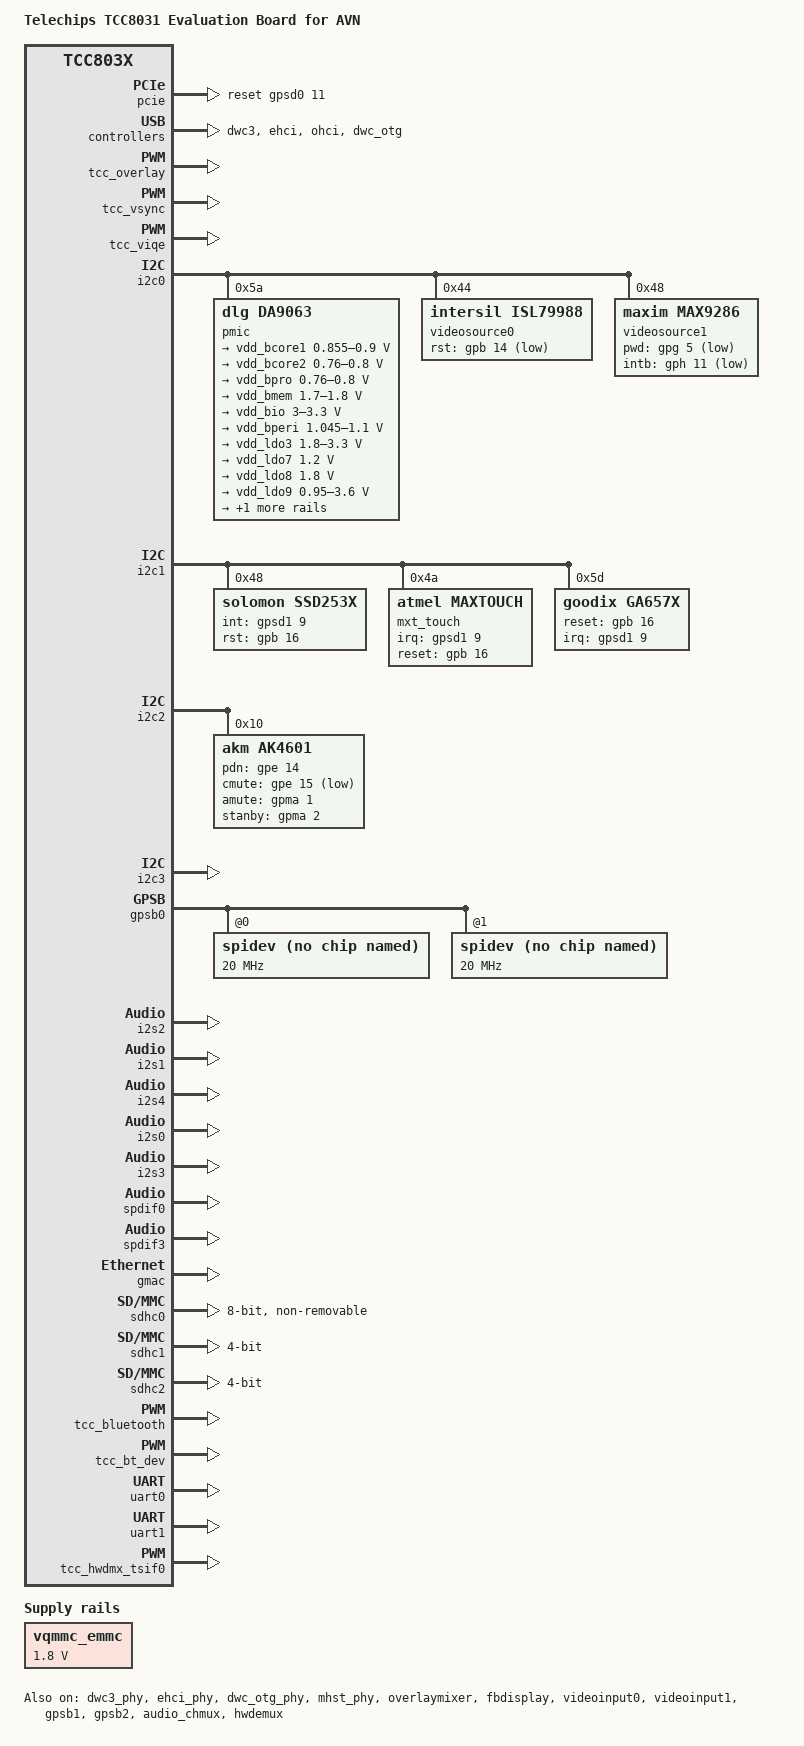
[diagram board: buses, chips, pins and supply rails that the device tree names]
// SPDX-License-Identifier: (GPL-2.0+ OR MIT)
/*
 * Device tree for Telechips TCC8031 board
 *
 * Copyright (C) 2018 Telechips Inc.

 */

#ifndef DT_OVERLAY
#include "tcc8031.dtsi"
#endif

#include "tcc803x-android.dtsi"

#include <dt-bindings/pmap/tcc803x/pmap-tcc803x-android-ivi.h>
#include "tcc-pmap-803x-android-customized.dtsi"
#include "tcc-pmap-common.dtsi"

/ {
	model = "Telechips TCC8031 Evaluation Board for AVN";
	compatible = "telechips,tcc8031", "telechips,tcc803x";
};

&aliases {
	videosource0 = &videosource0;
	videosource1 = &videosource1;
};

&pcie {
	reset-gpio = <&gpsd0 11 0>;
	//status = "okay";
};

&reserved_memory {
	/*-----------------------------------------------------------
	 * Secure Area 1 (CPU R/W, VPU X, GPU R/W, VIOC R)
	 *-----------------------------------------------------------
	 */
	pmap_fb_video: fb_video {
		compatible = "telechips,pmap";
		telechips,pmap-name = "fb_video";
		alloc-ranges = <SECURE_AREA_1_BASE SECURE_AREA_1_SIZE>;
		size = <PMAP_SIZE_FB_VIDEO>;
		telechips,pmap-secured = <1>;
		no-map;
	};

	pmap_fb1_video: fb1_video {
		compatible = "telechips,pmap";
		telechips,pmap-name = "fb1_video";
		alloc-ranges = <SECURE_AREA_1_BASE SECURE_AREA_1_SIZE>;
		size = <PMAP_SIZE_FB1_VIDEO>;
		telechips,pmap-secured = <1>;
		no-map;
	};

	pmap_fb2_video: fb2_video {
		compatible = "telechips,pmap";
		telechips,pmap-name = "fb2_video";
		alloc-ranges = <SECURE_AREA_1_BASE SECURE_AREA_1_SIZE>;
		size = <PMAP_SIZE_FB2_VIDEO>;
		telechips,pmap-secured = <1>;
		no-map;
	};

	pmap_fb3_video: fb3_video {
		compatible = "telechips,pmap";
		telechips,pmap-name = "fb3_video";
		alloc-ranges = <SECURE_AREA_1_BASE SECURE_AREA_1_SIZE>;
		size = <PMAP_SIZE_FB3_VIDEO>;
		telechips,pmap-secured = <1>;
		no-map;
	};

	/*-----------------------------------------------------------
	 * Secure Area 2 (CPU X, VPU X, GPU X, VIOC R/W)
	 *-----------------------------------------------------------
	 */
	pmap_overlay: overlay {
		compatible = "telechips,pmap";
		telechips,pmap-name = "overlay";
		alloc-ranges = <SECURE_AREA_2_BASE SECURE_AREA_2_SIZE>;
		/* Max-Displayed-Output(w*h*2) * 3 */
		size = <PMAP_SIZE_OVERLAY>;
		telechips,pmap-secured = <2>;
		no-map;
	};

	pmap_overlay1: overlay1 {
		compatible = "telechips,pmap";
		telechips,pmap-name = "overlay1";
		alloc-ranges = <SECURE_AREA_2_BASE SECURE_AREA_2_SIZE>;
		/* Max-Displayed-Output(w*h*2) * 3 */
		size = <PMAP_SIZE_OVERLAY1>;
		telechips,pmap-secured = <2>;
		no-map;
	};

	pmap_overlay_rot: overlay_rot {
		compatible = "telechips,pmap";
		telechips,pmap-name = "overlay_rot";
		alloc-ranges = <SECURE_AREA_2_BASE SECURE_AREA_2_SIZE>;
		/* Max-Displayed-Output(w*h*2) for device-rotation. */
		size = <PMAP_SIZE_OVERLAY_ROT>;
		telechips,pmap-secured = <2>;
		no-map;
	};

	pmap_viqe0: viqe0 {
		compatible = "telechips,pmap";
		telechips,pmap-name = "viqe";
		alloc-ranges = <SECURE_AREA_2_BASE SECURE_AREA_2_SIZE>;
		size = <PMAP_SIZE_VIQE0>;
		telechips,pmap-secured = <2>;
		no-map;
	};

	pmap_viqe1: viqe1 {
		compatible = "telechips,pmap";
		telechips,pmap-name = "viqe1";
		alloc-ranges = <SECURE_AREA_2_BASE SECURE_AREA_2_SIZE>;
		size = <PMAP_SIZE_VIQE1>;
		telechips,pmap-secured = <2>;
		no-map;
	};

	pmap_output_attach: output_attach {
		compatible = "telechips,pmap";
		telechips,pmap-name = "output_attach";
		alloc-ranges = <SECURE_AREA_2_BASE SECURE_AREA_2_SIZE>;
		size = <PMAP_SIZE_OUTPUT_ATTACH>;
		telechips,pmap-secured = <2>;
		no-map;
	};

	pmap_v4l2_vout0: v4l2_vout0 {
		compatible = "telechips,pmap";
		telechips,pmap-name = "v4l2_vout0";
		alloc-ranges = <SECURE_AREA_2_BASE SECURE_AREA_2_SIZE>;
		size = <PMAP_SIZE_V4L2_VOUT0>;
		telechips,pmap-secured = <2>;
		no-map;
	};

	pmap_v4l2_vout1: v4l2_vout1 {
		compatible = "telechips,pmap";
		telechips,pmap-name = "v4l2_vout1";
		alloc-ranges = <SECURE_AREA_2_BASE SECURE_AREA_2_SIZE>;
		size = <PMAP_SIZE_V4L2_VOUT1>;
		telechips,pmap-secured = <2>;
		no-map;
	};

	pmap_video_dual: video_dual {
		compatible = "telechips,pmap";
		telechips,pmap-name = "video_dual";
		alloc-ranges = <SECURE_AREA_2_BASE SECURE_AREA_2_SIZE>;
		size = <PMAP_SIZE_VIDEO_DUAL>;
		telechips,pmap-secured = <2>;
		no-map;
	};

	pmap_dual_display: dual_display {
		compatible = "telechips,pmap";
		telechips,pmap-name = "dual_display";
		alloc-ranges = <SECURE_AREA_2_BASE SECURE_AREA_2_SIZE>;
		size = <PMAP_SIZE_DUAL_DISPLAY>;
		telechips,pmap-secured = <2>;
		no-map;
	};

	pmap_fb_wmixer: fb_wmixer {
		compatible = "telechips,pmap";
		telechips,pmap-name = "fb_wmixer";
		alloc-ranges = <SECURE_AREA_2_BASE SECURE_AREA_2_SIZE>;
		/* Max-Video-Resolution(w*h*2) */
		size = <PMAP_SIZE_FB_WMIXER>;
		telechips,pmap-secured = <2>;
		no-map;
	};

	/*-----------------------------------------------------------
	 * Secure Area 3 (CPU X, VPU R/W, GPU X, VIOC R)
	 *-----------------------------------------------------------
	 */

	pmap_video_ext: video_ext {
		compatible = "telechips,pmap";
		telechips,pmap-name = "video_ext";
		alloc-ranges = <SECURE_AREA_3_BASE SECURE_AREA_3_SIZE>;
		size = <PMAP_SIZE_VIDEO_EXT>;
		telechips,pmap-secured = <3>;
		no-map;
	};

	pmap_video_ext2: video_ext2 {
		compatible = "telechips,pmap";
		telechips,pmap-name = "video_ext2";
		alloc-ranges = <SECURE_AREA_3_BASE SECURE_AREA_3_SIZE>;
		size = <PMAP_SIZE_VIDEO_EXT2>;
		telechips,pmap-secured = <3>;
		no-map;
	};

	pmap_video: video {
		compatible = "telechips,pmap";
		telechips,pmap-name = "video";
		alloc-ranges = <SECURE_AREA_3_BASE SECURE_AREA_3_SIZE>;
		size = <PMAP_SIZE_VIDEO>;
		telechips,pmap-secured = <3>;
		no-map;
	};

	pmap_video_sw: video_sw {
		compatible = "telechips,pmap";
		telechips,pmap-name = "video_sw";
		alloc-ranges = <RESERVED_MEM_BASE RESERVED_MEM_SIZE>;
		size = <PMAP_SIZE_VIDEO_SW_EXTRA>;
		no-map;
	};

	/*-----------------------------------------------------------
	 * Secure Area 4 (CPU X, VPU X, GPU R/W, VIOC R/W)
	 *-----------------------------------------------------------
	 */
	pmap_ump_reserved: ump_reserved {
		compatible = "telechips,pmap";
		telechips,pmap-name = "ump_reserved";
		alloc-ranges = <SECURE_AREA_4_BASE SECURE_AREA_4_SIZE>;
		size = <PMAP_SIZE_UMP_RESERVED>;
		telechips,pmap-secured = <4>;
	};

	pmap_ion_carveout_cam: ion_carveout_cam {
		compatible = "telechips,pmap";
		telechips,pmap-name = "ion_carveout_cam";
		alloc-ranges = <SECURE_AREA_4_BASE SECURE_AREA_4_SIZE>;
		size = <PMAP_SIZE_ION_CARVEOUT_CAM>; // 12MB
		telechips,pmap-secured = <4>;
	};

	/*-----------------------------------------------------------
	 * Shared Memory with pmap_viqe
	 *-----------------------------------------------------------
	 */
	pmap_jpeg_header: jpeg_header {
		compatible = "telechips,pmap";
		telechips,pmap-name = "jpeg_header";
		alloc-ranges = <RESERVED_MEM_BASE RESERVED_MEM_SIZE>;
		telechips,pmap-shared = <&pmap_viqe0>;
		telechips,pmap-shared-size = <PMAP_SIZE_JPEG_HEADER>;
		telechips,pmap-offset = <0x0>;
		size = <0x0>;
		no-map;
	};

	pmap_jpeg_stream: jpeg_stream {
		compatible = "telechips,pmap";
		telechips,pmap-name = "jpeg_stream";
		alloc-ranges = <RESERVED_MEM_BASE RESERVED_MEM_SIZE>;
		telechips,pmap-shared = <&pmap_jpeg_header>;
		telechips,pmap-shared-size = <PMAP_SIZE_JPEG_STREAM>;
		telechips,pmap-offset = <PMAP_SIZE_JPEG_HEADER>;
		size = <0x0>;
		no-map;
	};

	pmap_jpeg_raw: jpeg_raw {
		compatible = "telechips,pmap";
		telechips,pmap-name = "jpeg_raw";
		alloc-ranges = <RESERVED_MEM_BASE RESERVED_MEM_SIZE>;
		telechips,pmap-shared = <&pmap_jpeg_stream>;
		telechips,pmap-shared-size = <PMAP_SIZE_JPEG_RAW>;
		telechips,pmap-offset = <PMAP_SIZE_JPEG_STREAM>;
		size = <0x0>;
		no-map;
	};

	/*-----------------------------------------------------------
	 * Camera Memory
	 *-----------------------------------------------------------
	 */
	pmap_rearcamera_viqe: rearcamera_viqe {
		compatible = "telechips,pmap";
		telechips,pmap-name = "rearcamera_viqe";
		alloc-ranges = <EARLY_REARCAM_BASE EARLY_REARCAM_SIZE>;
		size = <PMAP_SIZE_CAMERA_VIQE>;
		no-map;
	};

	pmap_rearcamera: rearcamera {
		compatible = "telechips,pmap";
		telechips,pmap-name = "rearcamera";
		alloc-ranges = <EARLY_REARCAM_BASE EARLY_REARCAM_SIZE>;
		size = <PMAP_SIZE_CAMERA_PREVIEW0>;
		no-map;
	};

	pmap_rearcamera1: rearcamera1 {
		compatible = "telechips,pmap";
		telechips,pmap-name = "rearcamera1";
		alloc-ranges = <EARLY_REARCAM_BASE EARLY_REARCAM_SIZE>;
		size = <PMAP_SIZE_CAMERA_PREVIEW1>;
		no-map;
	};

	pmap_rearcamera2: rearcamera2 {
		compatible = "telechips,pmap";
		telechips,pmap-name = "rearcamera2";
		alloc-ranges = <EARLY_REARCAM_BASE EARLY_REARCAM_SIZE>;
		size = <PMAP_SIZE_CAMERA_PREVIEW2>;
		no-map;
	};

	pmap_rearcamera3: rearcamera3 {
		compatible = "telechips,pmap";
		telechips,pmap-name = "rearcamera3";
		alloc-ranges = <EARLY_REARCAM_BASE EARLY_REARCAM_SIZE>;
		size = <PMAP_SIZE_CAMERA_PREVIEW3>;
		no-map;
	};

	pmap_rearcamera4: rearcamera4 {
		compatible = "telechips,pmap";
		telechips,pmap-name = "rearcamera4";
		alloc-ranges = <EARLY_REARCAM_BASE EARLY_REARCAM_SIZE>;
		size = <PMAP_SIZE_CAMERA_PREVIEW4>;
		no-map;
	};

	pmap_rearcamera5: rearcamera5 {
		compatible = "telechips,pmap";
		telechips,pmap-name = "rearcamera5";
		alloc-ranges = <EARLY_REARCAM_BASE EARLY_REARCAM_SIZE>;
		size = <PMAP_SIZE_CAMERA_PREVIEW5>;
		no-map;
	};

	pmap_rearcamera6: rearcamera6 {
		compatible = "telechips,pmap";
		telechips,pmap-name = "rearcamera6";
		alloc-ranges = <EARLY_REARCAM_BASE EARLY_REARCAM_SIZE>;
		size = <PMAP_SIZE_CAMERA_PREVIEW6>;
		no-map;
	};

	pmap_parking_gui: parking_gui {
		compatible = "telechips,pmap";
		telechips,pmap-name = "parking_gui";
		alloc-ranges = <EARLY_REARCAM_BASE EARLY_REARCAM_SIZE>;
		size = <PMAP_SIZE_CAMERA_PGL>;
		no-map;
	};

	/*-----------------------------------------------------------
	 * Default Reserved Memory
	 *-----------------------------------------------------------
	 */
	pmap_ump_reserved_sw: ump_reserved_sw {
		compatible = "telechips,pmap";
		telechips,pmap-name = "ump_reserved_sw";
		alloc-ranges = <RESERVED_MEM_BASE RESERVED_MEM_SIZE>;
		size = <PMAP_SIZE_UMP_RESERVED_SW>; // 4KB * 12
		no-map;
	};

	pmap_video_sbackup: video_sbackup {
		compatible = "telechips,pmap";
		telechips,pmap-name = "video_sbackup";
		alloc-ranges = <RESERVED_MEM_BASE RESERVED_MEM_SIZE>;
		/* 0x200000 for 1080p, 0x600000 for 2160p */
		size = <PMAP_SIZE_VIDEO_SBACKUP>;
		telechips,pmap-secured;
		no-map;
	};

	pmap_pmem: pmem {
		compatible = "telechips,pmap";
		telechips,pmap-name = "pmem";
		alloc-ranges = <RESERVED_MEM_BASE RESERVED_MEM_SIZE>;
		size = <PMAP_SIZE_PMEM>;
		no-map;
	};

	pmap_video_thumb: video_thumb {
		compatible = "telechips,pmap";
		telechips,pmap-name = "video_thumb";
		alloc-ranges = <RESERVED_MEM_BASE RESERVED_MEM_SIZE>;
		/* 0x600000 for 1080p video, 0x1A00000 for 2160p */
		size = <PMAP_SIZE_VIDEO_THUMB>;
		no-map;
	};

	pmap_ext_camera: ext_camera {
		compatible = "telechips,pmap";
		telechips,pmap-name = "ext_camera";
		alloc-ranges = <RESERVED_MEM_BASE RESERVED_MEM_SIZE>;
		size = <PMAP_SIZE_EXT_CAMERA>;
		no-map;
	};

	pmap_nand_mem: nand_mem {
		compatible = "telechips,pmap";
		telechips,pmap-name = "nand_mem";
		alloc-ranges = <RESERVED_MEM_BASE RESERVED_MEM_SIZE>;
		size = <PMAP_SIZE_NAND_MEM>;
		no-map;
	};

	pmap_tsif: tsif {
		compatible = "telechips,pmap";
		telechips,pmap-name = "tsif";
		alloc-ranges = <RESERVED_MEM_BASE RESERVED_MEM_SIZE>;
		size = <PMAP_SIZE_TSIF>;
		no-map;
	};

	/*
	 * pmap_jpg_enc_dxb: jpg_enc_dxb {
	 *	telechips,pmap-name = "jpg_enc_dxb";
	 *	alloc-ranges = <RESERVED_MEM_BASE RESERVED_MEM_SIZE>;
	 *	size = <PMAP_SIZE_JPG_ENC_DXB>;
	 *	no-map;
	 * };
	 *
	 * pmap_jpg_raw_dxb: jpg_raw_dxb {
	 *	telechips,pmap-name = "jpg_raw_dxb";
	 *	alloc-ranges = <RESERVED_MEM_BASE RESERVED_MEM_SIZE>;
	 *	size = <PMAP_SIZE_JPG_RAW_DXB>;
	 *	no-map;
	 * };
	 */

	pmap_v4l2_subtitle: v4l2_subtitle {
		compatible = "telechips,pmap";
		telechips,pmap-name = "v4l2_subtitle";
		alloc-ranges = <RESERVED_MEM_BASE RESERVED_MEM_SIZE>;
		size = <PMAP_SIZE_V4L2_SUBTITLE>;
		no-map;
	};

	pmap_prot_tztee: prot_tztee {
		compatible = "telechips,pmap";
		telechips,pmap-name = "prot_tztee";
		alloc-ranges = <RESERVED_MEM_BASE RESERVED_MEM_SIZE>;
		/* Calculate start address based on 0x30000000.
		 * Base address will be (0x30000000 - prot_tztee_size).
		 */
		size = <0x0>;
		no-map;
	};

	reserved_ramoops: ramoops {
		compatible = "telechips,pmap";
		telechips,pmap-name = "ramoops";
		alloc-ranges = <RESERVED_MEM_BASE RESERVED_MEM_SIZE>;
		size = <PMAP_SIZE_RAMOOPS>;
		no-map;
	};

	/*
	 * reserved_cma: linux,cma {
	 *	compatible = "shared-dma-pool";
	 *	alloc-ranges = <RESERVED_MEM_BASE RESERVED_MEM_SIZE>;
	 *	size = <PMAP_SIZE_CMA>;
	 *	//alignment = <0x04000000>;
	 *	alignment = <0x0>;
	 *	linux,cma-default;
	 *	reusable;
	 * };
	 */

	/*-----------------------------------------------------------
	 * Shared Memory with pmap_video :: only for enc_main pmap.
	 *-----------------------------------------------------------
	 */
	pmap_enc_main: enc_main {
		compatible = "telechips,pmap";
		telechips,pmap-name = "enc_main";
		alloc-ranges = <RESERVED_MEM_BASE RESERVED_MEM_SIZE>;
		telechips,pmap-shared = <&pmap_video>;
		telechips,pmap-shared-size = <PMAP_SIZE_ENC>;
		telechips,pmap-offset = <VIDEO_MAIN_SIZE>;
		size = <0x0>;
		no-map;
	};

	pmap_enc_ext: enc_ext {
		compatible = "telechips,pmap";
		telechips,pmap-name = "enc_ext";
		alloc-ranges = <RESERVED_MEM_BASE RESERVED_MEM_SIZE>;
		size = <PMAP_SIZE_ENC_EXT>;
		no-map;
	};

	pmap_enc_ext2: enc_ext2 {
		compatible = "telechips,pmap";
		telechips,pmap-name = "enc_ext2";
		alloc-ranges = <RESERVED_MEM_BASE RESERVED_MEM_SIZE>;
		size = <PMAP_SIZE_ENC_EXT2>;
		no-map;
	};

	pmap_enc_ext3: enc_ext3 {
		compatible = "telechips,pmap";
		telechips,pmap-name = "enc_ext3";
		alloc-ranges = <RESERVED_MEM_BASE RESERVED_MEM_SIZE>;
		size = <PMAP_SIZE_ENC_EXT3>;
		no-map;
	};

	pmap_enc_ext4: enc_ext4 {
		compatible = "telechips,pmap";
		telechips,pmap-name = "enc_ext4";
		alloc-ranges = <RESERVED_MEM_BASE RESERVED_MEM_SIZE>;
		size = <PMAP_SIZE_ENC_EXT4>;
		no-map;
	};

	pmap_enc_ext5: enc_ext5 {
		compatible = "telechips,pmap";
		telechips,pmap-name = "enc_ext5";
		alloc-ranges = <0x0 RESERVED_MEM_BASE 0x0 RESERVED_MEM_SIZE>;
		size = <0x0 PMAP_SIZE_ENC_EXT5>;
		no-map;
	};

	pmap_enc_ext6: enc_ext6 {
		compatible = "telechips,pmap";
		telechips,pmap-name = "enc_ext6";
		alloc-ranges = <0x0 RESERVED_MEM_BASE 0x0 RESERVED_MEM_SIZE>;
		size = <0x0 PMAP_SIZE_ENC_EXT6>;
		no-map;
	};

	pmap_enc_ext7: enc_ext7 {
		compatible = "telechips,pmap";
		telechips,pmap-name = "enc_ext7";
		alloc-ranges = <0x0 RESERVED_MEM_BASE 0x0 RESERVED_MEM_SIZE>;
		size = <0x0 PMAP_SIZE_ENC_EXT7>;
		no-map;
	};

	/*
	 * pmap_svm: pmap_svm {
	 *	compatible = "telechips,pmap";
	 *	telechips,pmap-name = "pmap_svm";
	 *	alloc-ranges = <RESERVED_MEM_BASE RESERVED_MEM_SIZE>;
	 *	size = <PMAP_SVM_SIZE>;
	 *	no-map;
	 * };
	 */

	reserved_optee: optee_os {
		compatible = "optee.os";
		reg = <PMAP_BASE_OPTEE_OS PMAP_SIZE_OPTEE_OS>;
		no-map;
		status = "disabled";
	};

	reserved_dw_esm: dw_esm {
		compatible = "dw.esm";
		reg = <PMAP_BASE_PROT_ESM_FW PMAP_SIZE_PROT_ESM_FW>;
		no-map;
		status = "disabled";
	};
};

/*
 * &nand {
 *	compatible = "telechips,nand-v8";
 *	status = "okay";
 *	pinctrl-names = "default";
 *	pinctrl-0 = <&nand_rdy &nand_cs0
 *		     &nand_we &nand_oe &nand_cle &nand_ale
 *		     &nand_wp &nand_databus8>;
 * };
 */

/* USB 3.0 DRD */
&dwc3_phy {
	status = "okay";
	vbus-ctrl-able;
	vbus-gpio = <&gpa 29 0>;
};
&dwc3 {
	status = "okay";
	//usb3en-ctrl-able;
	//usb3en-gpio = <&gpc 20 0>;
	//vbus-source-ctrl;
	vbus-ctrl-able;
	vbus-gpio = <&gpa 29 0>;
	//pinctrl-names = "default";
	//vdd_dwc-supply = <&vdd_v5p0_reg>;
};

/* USB 2.0 OTG */
&ehci_phy {
	status = "okay";
	vbus-ctrl-able;
	vbus-gpio = <&gpa 28 0>;
};

&ehci {
	status = "okay";
	hcd_id = <0>;
	phy-type = <1>; //pico phy = 1, nano phy = 0
	vbus-ctrl-able;
	vbus-gpio = <&gpa 28 0>;

	//sq_level_ctl;
	TXVRT = <0xB>;
	TXRISET = <0x3>;
	TXAT = <0x1>;
};

&ohci {
	status = "okay";
	vbus-ctrl-able;
	vbus-gpio = <&gpa 28 0>;
};

&dwc_otg_phy {
	status = "okay";

	vbus-ctrl-able;
	vbus-gpio = <&gpa 27 0>;
};

&mhst_phy {
	status = "okay";

	vbus-ctrl-able;
	vbus-gpio = <&gpa 27 0>;
};

&dwc_otg {
	status = "okay";
	phy-type = <1>; //pico phy = 1, nano phy = 0

	vbus-ctrl-able;
	vbus-gpio = <&gpa 27 0>;
};

/*
 * &hsic {
 *	status = "okay";
 *	hcd_id = <2>; //2 == HSIC
 *	phy-type = <1>; //pico phy = 1, nano phy = 0
 *	vbus-ctrl-able;
 *	vbus-gpio = <&gpk 25 0>;
 * };
 */

&switch_reverse {
	compatible = "telechips,switch";
	status = "disabled";

	pinctrl-names = "default";
	pinctrl-0 = <&switch_ma15>;

	switch-gpios = <&gpma 15 1>;
	switch-active = <0>;
};

&thermal {
	compatible = "telechips,tcc-thermal";
	reg = <0x14700000 0x4 0x14700030 0x4 0x14200290 0x4 0x1420029C 0x4
	       0x14200298 0x4 0x1470000C 0x4 0x14700010 0x4>;

	status = "okay";

	throttle_count = <5>;
	throttle_active_count = <0>;
	throttle_passive_count = <5>;
	interrupts = <GIC_SPI 40 0>;
	cal_type = "TYPE_ONE_POINT_TRIMMING";
	polling-delay-idle = <0>;
	polling-delay-passive = <0>;

	threshold_temp = <85>;

	throttle_table {
		throttle_tab_0 {
			temp = <75>;
			freq_max_cluster0 = <1000000>;
			freq_max_cluster1 = <900000>;
		};
		throttle_tab_1 {
			temp = <80>;
			freq_max_cluster0 = <900000>;
			freq_max_cluster1 = <810000>;
		};
		throttle_tab_2 {
			temp = <85>;
			freq_max_cluster0 = <800000>;
			freq_max_cluster1 = <720000>;
		};
		throttle_tab_3 {
			temp = <90>;
			freq_max_cluster0 = <700000>;
			freq_max_cluster1 = <630000>;
		};
		throttle_tab_4 {
			temp = <95>;
			freq_max_cluster0 = <600000>;
			freq_max_cluster1 = <540000>;
		};
	};
};

&cpu_id {
	compatible = "telechips,tcc-cpu-id";
	reg = <0x14200290 0x4 0x14200298 0x4 0x1420029C 0x4 0x14400014 0x4>;
	status = "okay";
};

&overlaymixer {
	status ="okay";
	/* 16MB (if > 512MB RAM) refer to Guide 27 Page */
	contiguousSize = <0x1000000>;
	baseAddress = <0x20000000>;
	/* DRAM size (0x40000000 = 1GB, 0x80000000 = 2GB) */
	physSize = <0x80000000>;
};

&fbdisplay {
	telechips,fbdisplay_num = <0>;
	status ="okay";
};

&tcc_overlay {
	compatible = "telechips,tcc_overlay";
	status = "okay";
	fbdisplay-overlay = <&fbdisplay>;
};

&tcc_vsync {
	compatible = "telechips,tcc_vsync";
	display-vioc0 = <&vioc_disp VIOC_DISP0>;
	display-vioc1 = <&vioc_disp VIOC_DISP1>;
	status = "okay";
};

&tcc_viqe {
	compatible = "telechips,tcc_viqe";
	status ="okay";
	tcc_viqe_viqe_common {
		board_num=<1>;
	};
};

&hdmi_tx_20 {
	hdmi_ref_src_clock = <0>; // 0 XIN, 1 X-TAL, 2 PERI, 3, PMU XIN
	hdmi_phy_type = <0>; // 0 8031

	/* Source Product Description */
	product_description = "TCC8031_avn";
};

&videoinput0 {
	status = "okay";
};

&videoinput1 {
	status = "okay";
};

&i2c0 {
	status = "okay";
	port-mux = <12>;
	pinctrl-names = "default";
	pinctrl-0 = <&i2c12_bus>;

	pmic@5A {
		compatible = "dlg,da9063";
		reg = <0x5A>;

		da9063_gpio: gpio {
			compatible = "dlg,da9063-gpio";
			gpio-controller;
			#gpio-cells = <2>;
		};

		regulators {
			vdd_bcore1: bcore1 {
				regulator-name = "cpu_0p9v";
				regulator-min-microvolt = <855000>;
				regulator-max-microvolt = <900000>;
				regulator-always-on;
				regulator-boot-on;
			};

			vdd_bcore2: bcore2 {
				regulator-name = "core_0p8v";
				regulator-min-microvolt = <760000>;
				regulator-max-microvolt = <800000>;
				regulator-always-on;
				regulator-boot-on;
			};

			vdd_bpro: bpro {
				regulator-name = "vdd_mali";
				regulator-min-microvolt = <760000>;
				regulator-max-microvolt = <800000>;
				regulator-always-on;
				regulator-boot-on;
			};

			vdd_bmem: bmem {
				regulator-name = "io_1p8v";
				regulator-min-microvolt = <1700000>;
				regulator-max-microvolt = <1800000>;
				regulator-always-on;
				regulator-boot-on;
			};

			vdd_bio: bio {
				regulator-name = "io_3p3v";
				regulator-min-microvolt = <3000000>;
				regulator-max-microvolt = <3300000>;
				regulator-always-on;
				regulator-boot-on;
			};

			vdd_bperi: bperi {
				regulator-name = "mem_1p1v";
				regulator-min-microvolt = <1045000>;
				regulator-max-microvolt = <1100000>;
				regulator-always-on;
				regulator-boot-on;
			};

			vdd_ldo3: ldo3 {
				/* peri_1p8v */
				regulator-name = "sdio_pwr";
				regulator-min-microvolt = <1800000>;
				regulator-max-microvolt = <3300000>;
				regulator-always-on;
				regulator-boot-on;
			};

			vdd_ldo7: ldo7 {
				regulator-name = "cpu_1p2v";
				regulator-min-microvolt = <1200000>;
				regulator-max-microvolt = <1200000>;
				regulator-always-on;
				regulator-boot-on;
			};

			vdd_ldo8: ldo8 {
				regulator-name = "mem_1p8v";
				regulator-min-microvolt = <1800000>;
				regulator-max-microvolt = <1800000>;
				regulator-always-on;
				regulator-boot-on;
			};

			vdd_ldo9: ldo9 {
				regulator-name = "pmic_io_pwr";
				regulator-min-microvolt = <950000>;
				regulator-max-microvolt = <3600000>;
				regulator-always-on;
				regulator-boot-on;
			};

			vdd_ldo11: ldo11 {
				/* peri_3p3v */
				regulator-name = "emmc_pwr";
				regulator-min-microvolt = <3300000>;
				regulator-max-microvolt = <3300000>;
				regulator-always-on;
				regulator-boot-on;
			};
		};
	}; /* pmic da9063 */

	videosource0: videodecoder_isl79988 {
		compatible	= "intersil,isl79988";
		pinctrl-names	= "idle", "active";
		cifport		= <0>;
		pinctrl-0	= <&cam0_8bit_idle>;
		pinctrl-1	= <&cam0_clk &cam0_data_8bit>;
		rst-gpios	= <&gpb 14 1>;
		reg		= <0x44>;	// 0x88 >> 1
	};

	videosource1: deserializer_max9286 {
		compatible	= "maxim,max9286";
		cifport		= <5>;
		pwd-gpios	= <&gpg 5 1>;
		intb-gpios	= <&gph 11 1>;
		reg		= <0x48>;	// 0x90 >> 1
		mipi-csi2-idx   = <0>;
	};
};

&i2c1 {
	status = "okay";
	port-mux = <13>; /* [0]SCL [1]SDA */
	pinctrl-names = "default";
	pinctrl-0 = <&i2c13_bus>;

	ssd253x@48 {
		compatible = "solomon,ssd253x";
		reg = <0x48>;
		pinctrl-names = "default";
		pinctrl-0 = <&tsc_default>;
		int-gpios = <&gpsd1 9 0x0>;
		rst-gpios = <&gpb 16 0x0>;
	};
	mxt_touch@4a {
		compatible = "atmel,maxtouch";
		reg = <0x4a>;
		pinctrl-names = "default";
		pinctrl-0 = <&tsc_default>;

		irq-gpios = <&gpsd1 9 0x0>;
		reset-gpios = <&gpb 16 0x0>;
	};
	ga657x@5d {
		compatible = "goodix,ga657x";
		reg = <0x5d>;
		status = "okay";
		pinctrl-names = "default";
		pinctrl-0 = <&tsc_default>;

		reset-gpios = <&gpb 16 0x0>;
		irq-gpios = <&gpsd1 9 0x0>;
		irq-flags = <2>;

		touchscreen-max-id = <11>;
		touchscreen-size-x = <1920>;
		touchscreen-size-y = <720>;
		touchscreen-max-w = <512>;
		touchscreen-max-p = <512>;
		/*KEY_HOMEPAGE=172, KEY_BACK=158, KEY_MENU=139*/
		touchscreen-key-map = <172>, <158>;
		goodix,slide-wakeup = <0>;
		goodix,type-a-report = <0>;
		goodix,driver-send-cfg = <0>;
		goodix,resume-in-workqueue = <0>;
		goodix,swap-x2y = <0>;
		goodix,esd-protect = <1>;
		goodix,auto-update = <0>;
		goodix,auto-update-cfg = <0>;
		goodix,power-off-sleep = <0>;
		goodix,pen-suppress-finger = <0>;
		goodix,cfg-group0 = [
			53 D0 02 00 05 05 F5 D5 21 48 2D 0F 5A 41 0E
			05 00 00 32 32 20 00 05 14 14 1A 14 8B 2B 00
		];
	};
};

&i2c2 {
	status = "okay";
	port-mux = <20>; /* [0]SCL [1]SDA */
	pinctrl-names = "default";
	pinctrl-0 = <&i2c20_bus>;
	ak4601: ak4601@10 {
		compatible = "akm,ak4601";
		ak4601,pdn-gpio = <&gpe 14 0>;
		/* 0: active high, 1: active low */
		cmute-gpios = <&gpe 15 1>;	// CODEC_MUTE
		amute-gpios = <&gpma 1 0>;	// AMP_MUTE
		stanby-gpios = <&gpma 2 0>;	// AMP_STBY
		reg = <0x10>;
	};
};

&i2c3 {
	status = "okay";
	port-mux = <11>; /* [0]SCL [1]SDA */
	pinctrl-names = "default";
	pinctrl-0 = <&i2c11_bus>;
};

&gpsb0 {
	status = "okay";
	gpsb-port = <22>;
	pinctrl-names = "idle", "active";
	pinctrl-0 = <&gpsb22_bus_idle>;
	pinctrl-1 = <&gpsb22_bus_spi>;

	/* cs-gpios */
	cs-gpios = <&gpg 8 0>,<&gpa 30 0>;

	#address-cells = <1>;
	#size-cells = <0>;
	spidev@0 {
		compatible = "rohm,dh2228fv";
		reg = <0>;
		spi-max-frequency = <20000000>;
	};
	spidev@1 {
		compatible = "rohm,dh2228fv";
		reg = <1>;
		spi-max-frequency = <20000000>;
	};
};

&gpsb1 {
	status = "okay";  // enable = "okay"
	gpsb-port = <15>;
	pinctrl-names = "idle", "active";
	pinctrl-0 = <&gpsb15_bus_idle>;
	pinctrl-1 = <&gpsb15_bus_tsif>;
};

&gpsb2 {
	status = "okay";  // enable = "okay"
	gpsb-port = <16>;
	pinctrl-names = "idle", "active";
	pinctrl-0 = <&gpsb16_bus_idle>;
	pinctrl-1 = <&gpsb16_bus_tsif>;
};

/* sdr */

&i2s2 {
	compatible = "telechips,sdr";
	dev-name = "tcc-iq01";
	pinctrl-names = "default", "idle";
	pinctrl-0 = <&m1dai1_bclk &m1dai1_lrck
		     &m1dai1_dai0 &m1dai1_dai1 &m1dai1_dai2 &m1dai1_dai3>;
	pinctrl-1 = <&m1dai1_bclk_idle &m1dai1_lrck_idle &m1dai1_dai0_idle
		     &m1dai1_dai1_idle &m1dai1_dai2_idle &m1dai1_dai3_idle>;
	status = "okay";
};

&i2s1 {
	compatible = "telechips,sdr";
	dev-name = "tcc-iq23";
	pinctrl-names = "default", "idle";
	pinctrl-0 = <&m1dai0_bclk &m1dai0_lrck &m1dai0_dai0 &m1dai0_dai1>;
	pinctrl-1 = <&m1dai0_bclk_idle &m1dai0_lrck_idle
		     &m1dai0_dai0_idle &m1dai0_dai1_idle>;
	status = "okay";
};

&i2s4 {
	compatible = "telechips,sdr";
	dev-name = "tcc-hdr-blend";
	pinctrl-names = "default", "idle";
	pinctrl-0 = <&m0dai1_bclk &m0dai1_lrck &m0dai1_dai0>;
	pinctrl-1 = <&m0dai1_bclk_idle &m0dai1_lrck_idle &m0dai1_dai0_idle>;
	status = "okay";
};


&audio_chmux {
	compatible = "telechips,audio-chmux-803x";
	//dai = <3 99 1 0 99 99 99>;
	dai = <3 0 1 0 1 99 99>; // i2s0(x) ... i2s6(x)
	spdif = <2 99 99 3 99 99 99>; // spdif0(x) ... spdif6(x)
	status = "okay";
};

&adma0 {
	status = "okay";
};

&adma1 {
	status = "disabled";
};

&adma2 {
	status = "disabled";
};

&adma3 {
	status = "okay";
};

&adma4 {
	status = "disabled";
};

&i2s0 {
	pinctrl-names = "default", "idle";
	pinctrl-0 = <&m1dai3_mclk &m1dai3_bclk &m1dai3_lrck
		     &m1dai3_dao0 &m1dai3_dai0>;
	pinctrl-1 = <&m1dai3_mclk_idle &m1dai3_bclk_idle &m1dai3_lrck_idle
		     &m1dai3_dao0_idle &m1dai3_dai0_idle>;
	status = "okay";
};

&i2s3 {
	pinctrl-names = "default", "idle";
	pinctrl-0 = <&m0dai0_bclk &m0dai0_lrck &m0dai0_dao0 &m0dai0_dai0>;
	pinctrl-1 = <&m0dai0_bclk_idle &m0dai0_lrck_idle
		     &m0dai0_dao0_idle &m0dai0_dai0_idle>;
	status = "okay";
};

&spdif0 {
	pinctrl-names = "default", "idle";
	pinctrl-0 = <&spdif2_tx>;
	pinctrl-1 = <&spdif2_tx_idle>;
	status = "okay";
};

&spdif3 {
	pinctrl-names = "default", "idle";
	pinctrl-0 = <&spdif3_rx>;
	pinctrl-1 = <&spdif3_rx_idle>;
	status = "okay";
};

/*
 * &asrc0 {
 *	sync-mode = <1 1 1 1>; // 0:async, 1:sync
 *	//path-type = <0 0 0 0>; // 0:m2m, 1:m2p, 2:p2m
 *	path-type = <1 1 1 2>; // 0:m2m, 1:m2p, 2:p2m
 *	status = "okay";
 * };
 *
 * &sound {
 *	compatible = "telechips,asrc-card";
 *	card-name = "TCC8031 EVM Card";
 *	status = "okay";
 *
 *	asrc = <&asrc0>;
 *
 *	telechips,dai-link@0 {
 *		codec,format = "i2s";
 *
 *		i2s = <&i2s0>;
 *		codec = <&ak4601>;
 *		codec,dai-name = "ak4601-aif1";
 *
 *		asrc-m2p-pairs = <0 1 2>;
 *		asrc-p2m-pairs = <3>;
 *
 *		mclk_div = <16>; // 4,6,8,16
 *		bclk_ratio = <64>; // 32,48,64fs
 *		samplerate = <48000>;
 *		format = <0>; // 0:S16LE, 1:S24LE
 *		channels = <2>; //2, 4, 6, 8
 *	};
 * };
 */

&sound {
	compatible = "telechips,snd-card";
	card-name = "TCC8031 EVM Card";
	status = "okay";

	telechips,dai-link@0 {
		stream-name="I2S_0";
		codec,format = "i2s"; // i2s, left_j, right_j
		codec,continuous-clock;
		mclk_div = <16>; // 4,6,8,16
		bclk_ratio = <64>; // 32,48,64fs
		pcm = <&adma0>;
		dai = <&i2s0>;
		codec = <&ak4601>;
		codec,dai-name = "ak4601-aif1";
	};

	telechips,dai-link@1 {
		stream-name="SPDIF_0_TX";
		pcm = <&adma0>;
		dai = <&spdif0>;
		playback-only;
	};

	telechips,dai-link@2 {
		stream-name="SPDIF_1_RX";
		pcm = <&adma3>;
		dai = <&spdif3>;
		capture-only;
	};

	telechips,dai-link@3 {
		stream-name="I2S_3";
		codec,format = "i2s"; // i2s, left_j, right_j
		codec,continuous-clock;
		mclk_div = <16>; // 4,6,8,16
		bclk_ratio = <64>; // 32,48,64fs
		pcm = <&adma3>;
		dai = <&i2s3>;
	};
};

&gmac {
	status = "okay";
//	phyon-gpio	= <&gpc 27 0>;
	phyrst-gpio = <&gpc 29 0>;
	phy-interface = "rgmii";
	//ecid-mac-addr;
	txclk-o-dly = <18>;
	txclk-o-inv = <0>;
	txclk-i-dly = <0>;
	txclk-i-inv = <0>;
	txen-dly = <0>;
	txer-dly = <0>;
	txd0-dly = <0>;
	txd1-dly = <0>;
	txd2-dly = <0>;
	txd3-dly = <0>;
	txd4-dly = <0>;
	txd5-dly = <0>;
	txd6-dly = <0>;
	txd7-dly = <0>;
	rxclk-i-dly = <0>;
	rxclk-i-inv = <0>;
	rxdv-dly = <0>;
	rxer-dly = <0>;
	rxd0-dly = <0>;
	rxd1-dly = <0>;
	rxd2-dly = <0>;
	rxd3-dly = <0>;
	rxd4-dly = <0>;
	rxd5-dly = <0>;
	rxd6-dly = <0>;
	rxd7-dly = <0>;
	crs-dly = <0>;
	col-dly = <0>;
	pinctrl-names = "default", "mii", "rmii", "gmii", "rgmii";
	pinctrl-0 = <>;
	pinctrl-1 = <&gmac1_mdc &gmac1_mdio &gmac1_col
		     &gmac1_crs &gmac1_txer &gmac1_rxer
		     &gmac1_txclk &gmac1_txen &gmac1_txd0
		     &gmac1_txd1 &gmac1_txd2 &gmac1_txd3
		     &gmac1_rxclk &gmac1_rxdv &gmac1_rxd0
		     &gmac1_rxd1 &gmac1_rxd2 &gmac1_rxd3>;
	pinctrl-2 = <&gmac1_mdc &gmac1_mdio
		     &gmac1_txclk &gmac1_txen &gmac1_txd0 &gmac1_txd1
		     &gmac1_rxer &gmac1_rxdv &gmac1_rxd0 &gmac1_rxd1>;
	pinctrl-3 = <&gmac1_mdc &gmac1_mdio &gmac1_col
		     &gmac1_crs &gmac1_txer &gmac1_rxer
		     &gmac1_txclk &gmac1_txen &gmac1_txd0
		     &gmac1_txd1 &gmac1_txd2 &gmac1_txd3
		     &gmac1_txd4 &gmac1_txd5 &gmac1_txd6 &gmac1_txd7
		     &gmac1_rxclk &gmac1_rxdv &gmac1_rxd0
		     &gmac1_rxd1 &gmac1_rxd2 &gmac1_rxd3
		     &gmac1_rxd4 &gmac1_rxd5 &gmac1_rxd6 &gmac1_rxd7>;
	pinctrl-4 = <&gmac1_mdc &gmac1_mdio
		     &gmac1_txclk &gmac1_txen &gmac1_txd0
		     &gmac1_txd1 &gmac1_txd2 &gmac1_txd3
		     &gmac1_rxclk &gmac1_rxdv &gmac1_rxd0
		     &gmac1_rxd1 &gmac1_rxd2 &gmac1_rxd3>;
};

/* CP */
&auth_cp {
	compatible = "telechips, tcc-cp";
	cp-type = <2>;		/* 2.0C = 1, 2.0B = 0, 3.0 = 2 */
	i2c-channel = <3>;	/* 0 ~ 3 */
	/*	power-ctrl-able; */
	/* cp_power-gpio = <&gpk 14 0>; */
	/* cp_reset-gpio = <&gpk 11 0>; */
};

/* eMMC */
&vqmmc_emmc {
	compatible = "regulator-fixed";
	regulator-name = "vqmmc_emmc";
	regulator-min-microvolt = <1800000>;
	regulator-max-microvolt = <1800000>;
	regulator-always-on;
};

&sdhc0 {
	status = "okay";
	bus-width = <8>;
	max-frequency = <200000000>;
	pinctrl-names = "default";
	pinctrl-0 = <&sd0_clk &sd0_cmd &sd0_bus8>;

	non-removable;
	keep-power-in-suspend;
	disable-wp;
	cap-mmc-hw-reset;
	mmc-ddr-1_8v;

	tcc-mmc-reset = <&gpsd0 14 0>;

	vqmmc-supply = <&vqmmc_emmc>;
};

/* SD CARD */
&sdhc1 {
	status = "okay";
#ifndef CONFIG_MMC_SDHCI_TCC_MODULE_ONLY
	compatible = "telechips,tcc-sdhci";
#else
	/*
	 * In order to reduce boot time,
	 * we use the driver as module not built-in.
	 */
	compatible = "telechips,tcc803x-sdhci,module-only";
#endif
	controller-id = <1>;
	bus-width = <4>;
	max-frequency = <200000000>;
	pinctrl-names = "default";
	pinctrl-0 = <&sd1_clk &sd1_cmd &sd1_bus4 &sd1_bus4_wp_cd>;
};

/* SDIO */
&sdhc2 {
	status = "okay";
	bus-width = <4>;
	max-frequency = <200000000>;
	pinctrl-names = "default";
	pinctrl-0 = <&sd2_clk &sd2_cmd &sd2_bus4 &out0_clk>;
	clocks = <&clk_peri PERI_SDMMC2 &clk_io IOBUS_SDMMC2>;
	clock-names = "mmc_fclk", "mmc_hclk";
};

/* broadcast(DAB/DMB) */
&tcc_dxb_ctrl {
	compatible = "telechips,tcc_dxb_ctrl";
	pw-gpios = <&gpa 23 0>;
	dxb0-gpios = <&gpa 22 0>, <&gpa 21 0>, <0>, <0>;
	dxb1-gpios = <&gpa 31 0>, <&gpa 25 0>, <0>, <0>;
	ant-gpios = <0>, <0>;
	tuner-gpios = <&gpg 0 0>, <&gpma 0 0>;
};

/* bluetooth */
&tcc_bluetooth {
	compatible = "telechips, tcc_bluetooth";
	bt_power-gpio = <&gpsd2 6 0>; /* BTWIFI_VBAT_EN */
	bt_reg_on-gpio = <&gpc 12 0>;
	status = "okay";
};

&tcc_bt_dev {
	compatible = "telechips, tcc_bt_dev";
	status = "okay";
};

&smartcard {
	compatible = "telechips,pl131-smartcard";
	reg = <0x16601000 0xFFF 0x16684000 0x10>; //smartcard #0,
	//clocks = <&clk_io IOBUS_SMARTCARD0>;
	clock-frequency = <50000000>;
	smartcard-clock = <4000000>; // initail value 4Mhz
	Fi = <372>; // clock rate conversion integer
	Di = <1>; // initail value

	uart_ch = <&uart1>; // uart and smartcard share clock
	uart_chnum = <1>;
	port-num = <0>;
	tda8024-use = <1>;
	rst_gpios =  <&gpb 16 0>;
	detect_gpios = <&gph 7 0>;
	pwren_gpios = <&gph 10 0>;
	data_gfb = <21>;
	clk_gfb = <22>;
	pinctrl-names = "default";
	pinctrl-0 = <&smartcard_bus>;
	status = "disable";
};

&uart0 {
	pinctrl-names = "default";
	pinctrl-0 = <&uart18_data>;
	status = "okay";
};

/* bluetooth */
&uart1 {
	pinctrl-names = "default";
	pinctrl-0 = <&uart20_data &uart20_rtscts>;
	dmas = <&udma1 2 2 &udma1 3 2>;
	dma-names = "tx", "rx";
	status = "okay";
};

/* H/W Demux */
&hwdemux {
	compatible = "telechips,hwdemux";
	status = "okay";
};

&tcc_hwdmx_tsif0 {
	compatible = "telechips,tcc89xx-hwdmx-tsif";
	tsif-port = <1>;
	pinctrl-names = "idle", "active";
	pinctrl-0 = <&ts0_idle>;
	pinctrl-1 = <&ts0_active>;
	status = "okay";
};

&tcc_hwdmx_tsif1 {
	compatible = "telechips,tcc89xx-hwdmx-tsif";
	tsif-port = <2>;
	pinctrl-names = "idle", "active";
	pinctrl-0 = <&ts1_idle>;
	pinctrl-1 = <&ts1_active>;
};

/* ISDB-T */
&tcc_isdbt_ctrl {
	compatible = "telechips,tcc_isdbt_ctrl";
};

/* eMMC */
&sd0_clk {
		telechips,no-pull;
};

&sd0_cmd {
		telechips,no-pull;
};

&sd0_bus8 {
		telechips,no-pull;
};

/* SD slot */
&sd1_clk {
		telechips,no-pull;
};

&sd1_cmd {
		telechips,no-pull;
};

&sd1_bus4 {
		telechips,no-pull;
};
